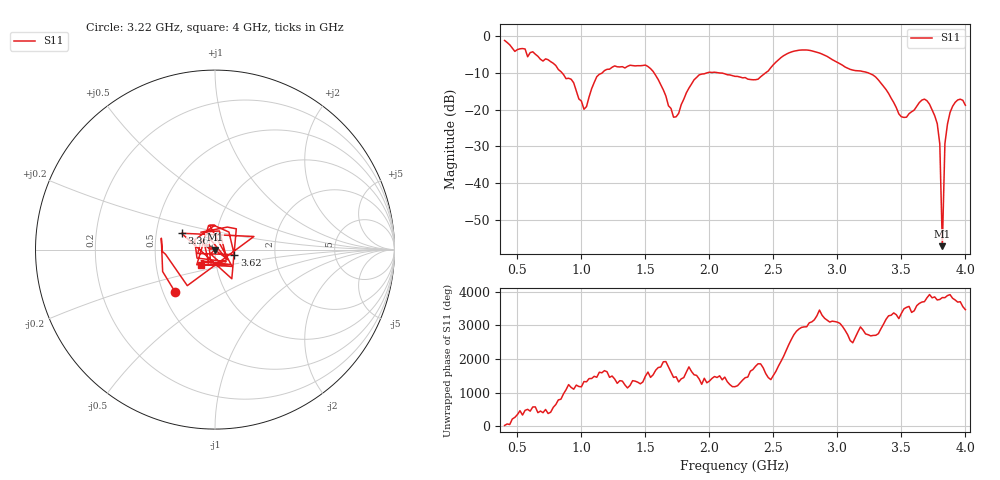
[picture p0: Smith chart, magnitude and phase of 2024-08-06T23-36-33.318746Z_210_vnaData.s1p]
!Created with skrf (http://scikit-rf.org).
# Hz S RI R 50.0
!freq ReS11 ImS11
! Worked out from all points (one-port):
!   181 points, 400 MHz to 4 GHz, reference 50 ohm
!   lowest |S11| = -57.1 dB at 3.82 GHz (marker M1), VSWR 1.00, Z = 49.9 - j0.0992 ohm
!   |S11| at or under -10 dB: 1.567 GHz to 1.982 GHz (414.5 MHz wide, 23.4 % of centre); 2.073 GHz to 2.439 GHz (366.4 MHz wide, 16.2 % of centre); 3.24 GHz to end of sweep (the widest 3 of 4)
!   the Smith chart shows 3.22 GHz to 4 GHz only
!   S11 on the Smith chart (normalised r, x): 3.22 GHz: 0.58, -0.31; 3.36 GHz: 0.68, +0.13; 3.62 GHz: 1.24, -0.07; 4 GHz: 0.84, -0.14
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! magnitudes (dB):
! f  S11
! 400 MHz  -1.2
! 860 MHz  -10.5
! 940 MHz  -12.7
! 1.02 GHz  -19.9
! 1.12 GHz  -11.0
! 1.3 GHz  -8.4
! 1.52 GHz  -8.3
! 1.6 GHz  -11.8
! 1.72 GHz  -22.1
! 1.76 GHz  -21.0
! 1.92 GHz  -10.6
! 2.2 GHz  -11.0
! 2.38 GHz  -11.7
! 2.66 GHz  -4.1
! 3.1 GHz  -9.1
! 3.22 GHz  -9.8
! 3.36 GHz  -13.7
! 3.5 GHz  -21.9
! 3.56 GHz  -21.1
! 3.62 GHz  -19.1
! 3.7 GHz  -17.6
! 3.78 GHz  -23.8
! 3.8 GHz  -29.3
! 3.82 GHz  -57.1
! 3.84 GHz  -29.2
! 3.86 GHz  -23.9
! 3.92 GHz  -18.0
! 4 GHz  -18.8
